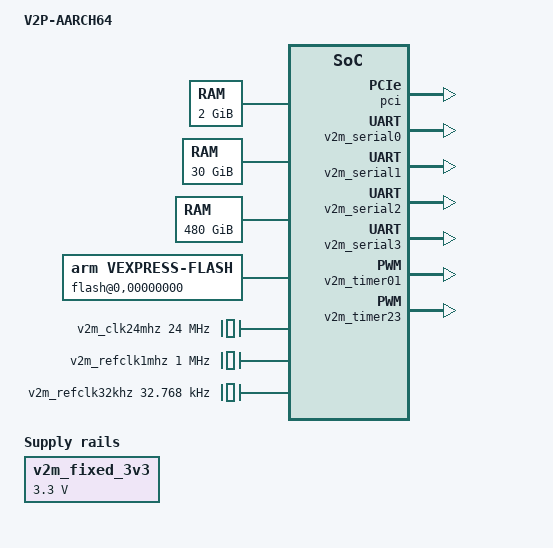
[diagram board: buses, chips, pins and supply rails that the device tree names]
/*
 * ARM Ltd. gem5 configuration file
 */

/dts-v1/;

/memreserve/ 0x80000000 0x00010000;

/ {
    model = "V2P-AARCH64";
    compatible = "arm,vexpress,v2p-aarch64", "arm,vexpress";
    interrupt-parent = <&gic>;
    #address-cells = <2>;
    #size-cells = <2>;

    chosen { };

    aliases {
        serial0 = &v2m_serial0;
        serial1 = &v2m_serial1;
        serial2 = &v2m_serial2;
        serial3 = &v2m_serial3;
    };

    cpus {
    #address-cells = <2>;
    #size-cells = <0>;

        cpu@0 {
            device_type = "cpu";
            compatible = "arm,armv8";
            reg = <0x0 0x0>;
            enable-method = "spin-table";
            cpu-release-addr = <0x0 0x8000fff8>;
        };
        cpu@1 {
            device_type = "cpu";
            compatible = "arm,armv8";
            reg = <0x0 0x1>;
            enable-method = "spin-table";
            cpu-release-addr = <0x0 0x8000fff8>;
        };
        cpu@2 {
            device_type = "cpu";
            compatible = "arm,armv8";
            reg = <0x0 0x2>;
            enable-method = "spin-table";
            cpu-release-addr = <0x0 0x8000fff8>;
        };
        cpu@3 {
            device_type = "cpu";
            compatible = "arm,armv8";
            reg = <0x0 0x3>;
            enable-method = "spin-table";
            cpu-release-addr = <0x0 0x8000fff8>;
        };
    };

    memory@80000000 {
        device_type = "memory";
        reg = <0x00000000 0x80000000 0x0 0x80000000>;
    };

    memory@880000000 {
        device_type = "memory";
        reg = <0x00000008 0x80000000 0x7 0x80000000>;
    };

    memory@8800000000 {
        device_type = "memory";
        reg = <0x00000088 0x00000000 0x78 0x00000000>;
    };


    gic: interrupt-controller@2c001000 {
         compatible = "arm,cortex-a15-gic", "arm,cortex-a9-gic";
         #interrupt-cells = <3>;
         #address-cells = <0>;
         interrupt-controller;
         reg = <0x0 0x2c001000 0 0x1000>,
             <0x0 0x2c002000 0 0x1000>,
             <0x0 0x2c004000 0 0x2000>,
             <0x0 0x2c006000 0 0x2000>;
         interrupts = <1 9 0xf04>;
     };

     timer {
         compatible = "arm,armv8-timer";
         interrupts = <1 13 0xff01>,
                    <1 14 0xff01>;
         clock-frequency = <100000000>;
     };

    pci {
        compatible = "pci-host-ecam-generic";
        device_type = "pci";
        #address-cells = <0x3>;
        #size-cells = <0x2>;
        #interrupt-cells = <0x1>;
        //bus-range = <0x0 0x1>;

        reg = <0x0 0x30000000 0x0 0x10000000>;

        ranges = <0x01000000 0x0 0x00000000 0x0 0x2f000000 0x0 0x10000>,
                 <0x02000000 0x0 0x40000000 0x0 0x40000000 0x0 0x10000000>;
        interrupt-map = <0x0000 0x0 0x0 0x1 &gic 0x0 0x01 0x1
                         0x0000 0x0 0x0 0x2 &gic 0x0 0x02 0x1
                         0x0000 0x0 0x0 0x3 &gic 0x0 0x03 0x1
                         0x0000 0x0 0x0 0x4 &gic 0x0 0x04 0x1>;

        interrupt-map-mask = <0x0000 0x0 0x0 0x7>;
        dma-coherent;
    };


     pmu {
         compatible = "arm,armv8-pmuv3";
         interrupts = <0 60 4>,
                    <0 61 4>,
                    <0 62 4>,
                    <0 63 4>;
     };

     smb {
         compatible = "simple-bus";

        #address-cells = <2>;
        #size-cells = <1>;
         ranges = <0 0 0 0x08000000 0x04000000>,
                <1 0 0 0x14000000 0x04000000>,
                <2 0 0 0x18000000 0x04000000>,
                <3 0 0 0x1c000000 0x04000000>,
			 <4 0 0 0x0c000000 0x04000000>,
			 <5 0 0 0x10000000 0x04000000>;

		#interrupt-cells = <1>;
		interrupt-map-mask = <0 0 63>;
		interrupt-map = <0 0  0 &gic 0  0 4>,
				<0 0  1 &gic 0  1 4>,
				<0 0  2 &gic 0  2 4>,
				<0 0  3 &gic 0  3 4>,
				<0 0  4 &gic 0  4 4>,
				<0 0  5 &gic 0  5 4>,
				<0 0  6 &gic 0  6 4>,
				<0 0  7 &gic 0  7 4>,
				<0 0  8 &gic 0  8 4>,
				<0 0  9 &gic 0  9 4>,
				<0 0 10 &gic 0 10 4>,
				<0 0 11 &gic 0 11 4>,
				<0 0 12 &gic 0 12 4>,
				<0 0 13 &gic 0 13 4>,
				<0 0 14 &gic 0 14 4>,
				<0 0 15 &gic 0 15 4>,
				<0 0 16 &gic 0 16 4>,
				<0 0 17 &gic 0 17 4>,
				<0 0 18 &gic 0 18 4>,
				<0 0 19 &gic 0 19 4>,
				<0 0 20 &gic 0 20 4>,
				<0 0 21 &gic 0 21 4>,
				<0 0 22 &gic 0 22 4>,
				<0 0 23 &gic 0 23 4>,
				<0 0 24 &gic 0 24 4>,
				<0 0 25 &gic 0 25 4>,
				<0 0 26 &gic 0 26 4>,
				<0 0 27 &gic 0 27 4>,
				<0 0 28 &gic 0 28 4>,
				<0 0 29 &gic 0 29 4>,
				<0 0 30 &gic 0 30 4>,
				<0 0 31 &gic 0 31 4>,
				<0 0 32 &gic 0 32 4>,
				<0 0 33 &gic 0 33 4>,
				<0 0 34 &gic 0 34 4>,
				<0 0 35 &gic 0 35 4>,
				<0 0 36 &gic 0 36 4>,
				<0 0 37 &gic 0 37 4>,
				<0 0 38 &gic 0 38 4>,
				<0 0 39 &gic 0 39 4>,
				<0 0 40 &gic 0 40 4>,
				<0 0 41 &gic 0 41 4>,
				<0 0 42 &gic 0 42 4>;

	motherboard {
		arm,v2m-memory-map = "rs1";
		compatible = "arm,vexpress,v2m-p1", "simple-bus";
		#address-cells = <2>; /* SMB chipselect number and offset */
		#size-cells = <1>;
		#interrupt-cells = <1>;
		ranges;

		flash@0,00000000 {
			compatible = "arm,vexpress-flash", "cfi-flash";
			reg = <0 0x00000000 0x04000000>,
			      <4 0x00000000 0x04000000>;
			bank-width = <4>;
		};

		v2m_clk24mhz: clk24mhz {
			compatible = "fixed-clock";
			#clock-cells = <0>;
			clock-frequency = <24000000>;
			clock-output-names = "v2m:clk24mhz";
		};

		v2m_refclk1mhz: refclk1mhz {
			compatible = "fixed-clock";
			#clock-cells = <0>;
			clock-frequency = <1000000>;
			clock-output-names = "v2m:refclk1mhz";
		};

		v2m_refclk32khz: refclk32khz {
			compatible = "fixed-clock";
			#clock-cells = <0>;
			clock-frequency = <32768>;
			clock-output-names = "v2m:refclk32khz";
		};

		iofpga@3,00000000 {
			compatible = "arm,amba-bus", "simple-bus";
			#address-cells = <1>;
			#size-cells = <1>;
			ranges = <0 3 0 0x200000>;

			v2m_sysreg: sysreg@010000 {
				compatible = "arm,vexpress-sysreg";
				reg = <0x010000 0x1000>;
				gpio-controller;
				#gpio-cells = <2>;
			};

			v2m_sysctl: sysctl@020000 {
				compatible = "arm,sp810", "arm,primecell";
				reg = <0x020000 0x1000>;
				clocks = <&v2m_refclk32khz>, <&v2m_refclk1mhz>, <&v2m_clk24mhz>;
				clock-names = "refclk", "timclk", "apb_pclk";
				#clock-cells = <1>;
				clock-output-names = "timerclken0", "timerclken1", "timerclken2", "timerclken3";
			};

			v2m_serial0: uart@090000 {
				compatible = "arm,pl011", "arm,primecell";
				reg = <0x090000 0x1000>;
				interrupts = <5>;
				clocks = <&v2m_clk24mhz>, <&v2m_clk24mhz>;
				clock-names = "uartclk", "apb_pclk";
			};

			v2m_serial1: uart@0a0000 {
				compatible = "arm,pl011", "arm,primecell";
				reg = <0x0a0000 0x1000>;
				interrupts = <6>;
				clocks = <&v2m_clk24mhz>, <&v2m_clk24mhz>;
				clock-names = "uartclk", "apb_pclk";
			};

			v2m_serial2: uart@0b0000 {
				compatible = "arm,pl011", "arm,primecell";
				reg = <0x0b0000 0x1000>;
				interrupts = <7>;
				clocks = <&v2m_clk24mhz>, <&v2m_clk24mhz>;
				clock-names = "uartclk", "apb_pclk";
			};

			v2m_serial3: uart@0c0000 {
				compatible = "arm,pl011", "arm,primecell";
				reg = <0x0c0000 0x1000>;
				interrupts = <8>;
				clocks = <&v2m_clk24mhz>, <&v2m_clk24mhz>;
				clock-names = "uartclk", "apb_pclk";
			};

			wdt@0f0000 {
				compatible = "arm,sp805", "arm,primecell";
				reg = <0x0f0000 0x1000>;
				interrupts = <0>;
				clocks = <&v2m_refclk32khz>, <&v2m_clk24mhz>;
				clock-names = "wdogclk", "apb_pclk";
			};

			v2m_timer01: timer@110000 {
				compatible = "arm,sp804", "arm,primecell";
				reg = <0x110000 0x1000>;
				interrupts = <2>;
				clocks = <&v2m_sysctl 0>, <&v2m_sysctl 1>, <&v2m_clk24mhz>;
				clock-names = "timclken1", "timclken2", "apb_pclk";
			};

			v2m_timer23: timer@120000 {
				compatible = "arm,sp804", "arm,primecell";
				reg = <0x120000 0x1000>;
				interrupts = <3>;
				clocks = <&v2m_sysctl 2>, <&v2m_sysctl 3>, <&v2m_clk24mhz>;
				clock-names = "timclken1", "timclken2", "apb_pclk";
			};

			rtc@170000 {
				compatible = "arm,pl031", "arm,primecell";
				reg = <0x170000 0x1000>;
				interrupts = <4>;
				clocks = <&v2m_clk24mhz>;
				clock-names = "apb_pclk";
			};

		};

		v2m_fixed_3v3: fixedregulator@0 {
			compatible = "regulator-fixed";
			regulator-name = "3V3";
			regulator-min-microvolt = <3300000>;
			regulator-max-microvolt = <3300000>;
			regulator-always-on;
		};

	};
	};
};
